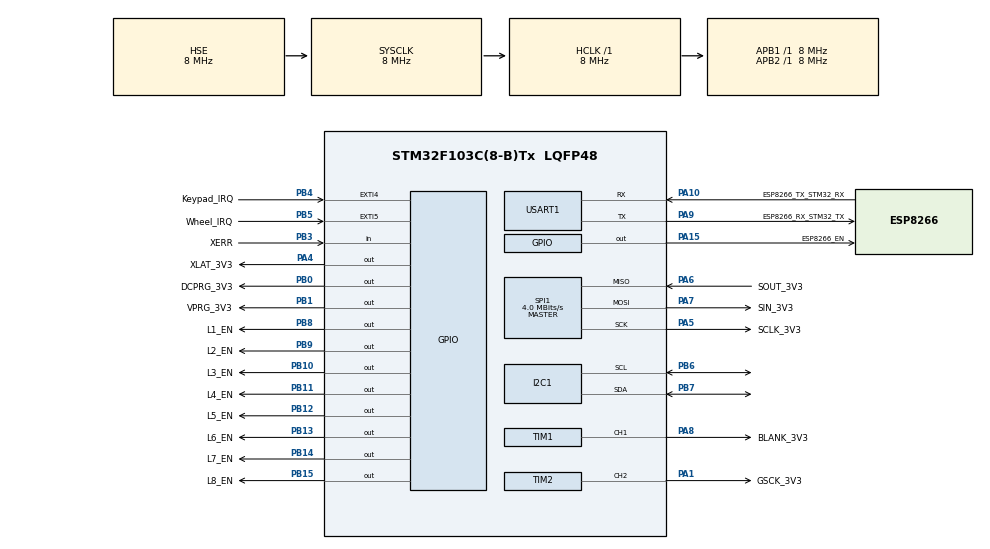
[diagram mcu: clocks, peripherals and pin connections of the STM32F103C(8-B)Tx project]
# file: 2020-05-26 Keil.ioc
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Mcu.Family=STM32F1
PA6.Mode=Full_Duplex_Master
SPI1.VirtualType=VM_MASTER
PB14.GPIO_Label=L7_EN
VP_RTC_VS_RTC_Activate.Mode=RTC_Enabled
PA6.GPIO_Label=SOUT_3V3
PB0.GPIO_Label=DCPRG_3V3
NVIC.TIM1_UP_IRQn=true\:1\:0\:true\:false\:true\:true\:true
PB13.GPIO_Label=L6_EN
PB11.Signal=GPIO_Output
PB13.Signal=GPIO_Output
PB15.Signal=GPIO_Output
RCC.SYSCLKSource=RCC_SYSCLKSOURCE_HSE
ProjectManager.StackSize=0x400
PD1-OSC_OUT.Signal=RCC_OSC_OUT
PA15.GPIO_Label=ESP8266_EN
SPI1.Direction=SPI_DIRECTION_2LINES
RCC.HCLKFreq_Value=8000000
RCC.APB2TimFreq_Value=8000000
PB6.Signal=I2C1_SCL
PB6.Mode=I2C
SPI1.CalculateBaudRate=4.0 MBits/s
RCC.AHBFreq_Value=8000000
RCC.RTCClockSelection=RCC_RTCCLKSOURCE_LSE
PB12.GPIO_Label=L5_EN
PB3.GPIO_PuPd=GPIO_PULLUP
PC14-OSC32_IN.Mode=LSE-External-Oscillator
PA14.Mode=Serial_Wire
PB1.GPIO_Label=VPRG_3V3
PA10.GPIO_Label=ESP8266_TX_STM32_RX
PB7.Signal=I2C1_SDA
PA8.Signal=S_TIM1_CH1
Mcu.Package=LQFP48
PB9.Signal=GPIO_Output
TIM2.Channel-Output\ Compare2\ CH2=TIM_CHANNEL_2
TIM2.OCMode_2=TIM_OCMODE_TOGGLE
PB1.Signal=GPIO_Output
PA6.Signal=SPI1_MISO
PA10.Signal=USART1_RX
PA15.Signal=GPIO_Output
PB5.GPIO_Label=Wheel_IRQ
RCC.APB1TimFreq_Value=8000000
TIM1.Period=16383
SPI1.BaudRatePrescaler=SPI_BAUDRATEPRESCALER_2
PA4.GPIO_Label=XLAT_3V3
PB4.Signal=GPXTI4
PA5.Mode=Full_Duplex_Master
PB3.GPIO_Label=XERR
RCC.PLLSourceVirtual=RCC_PLLSOURCE_HSE
PC15-OSC32_OUT.Mode=LSE-External-Oscillator
NVIC.EXTI4_IRQn=true\:2\:0\:true\:false\:true\:true\:true
PA7.Mode=Full_Duplex_Master
PD1-OSC_OUT.Mode=HSE-External-Oscillator
PB9.GPIO_Label=L2_EN
PA10.Mode=Asynchronous
PA9.GPIO_Label=ESP8266_RX_STM32_TX
TIM1.OCMode_1=TIM_OCMODE_ACTIVE
PB11.GPIO_Label=L4_EN
PD0-OSC_IN.Signal=RCC_OSC_IN
PC14-OSC32_IN.Signal=RCC_OSC32_IN
PA13.Signal=SYS_JTMS-SWDIO
PB8.GPIO_Label=L1_EN
SH.S_TIM2_CH2.0=TIM2_CH2,Output Compare2 CH2
PA9.Mode=Asynchronous
PA8.GPIO_Label=BLANK_3V3
SH.S_TIM1_CH1.0=TIM1_CH1,Output Compare1 CH1
ProjectManager.TargetToolchain=MDK-ARM V5.27
PB10.GPIO_Label=L3_EN
PA9.Signal=USART1_TX
RCC.USBFreq_Value=16000000
PC15-OSC32_OUT.Signal=RCC_OSC32_OUT
PA1.Signal=S_TIM2_CH2
PD0-OSC_IN.Mode=HSE-External-Oscillator
PB10.Signal=GPIO_Output
PB14.Signal=GPIO_Output
PA5.Signal=SPI1_SCK
board=custom
TIM1.TIM_MasterOutputTrigger=TIM_TRGO_UPDATE
RCC.APB2Freq_Value=8000000
PB4.GPIO_Label=Keypad_IRQ
PB15.GPIO_Label=L8_EN
SPI1.Mode=SPI_MODE_MASTER
PA1.GPIO_Label=GSCK_3V3
TIM2.Period=1
PA13.Mode=Serial_Wire
Mcu.Name=STM32F103C(8-B)Tx
PB3.Signal=GPIO_Input
PA4.Signal=GPIO_Output
RCC.SYSCLKFreq_VALUE=8000000
PB5.Signal=GPXTI5
PA7.GPIO_Label=SIN_3V3
PA5.GPIO_Label=SCLK_3V3
USART1.VirtualMode=VM_ASYNC
PB7.Mode=I2C
NVIC.EXTI9_5_IRQn=true\:2\:0\:true\:false\:true\:true\:true
PA14.Signal=SYS_JTCK-SWCLK
ProjectManager.HeapSize=0x200
TIM1.Channel-Output\ Compare1\ CH1=TIM_CHANNEL_1
TIM1.Pulse-Output\ Compare1\ CH1=16383
NVIC.PriorityGroup=NVIC_PRIORITYGROUP_4
PB8.Signal=GPIO_Output
RCC.APB1Freq_Value=8000000
PB0.Signal=GPIO_Output
PB12.Signal=GPIO_Output
PA7.Signal=SPI1_MOSI

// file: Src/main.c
/* USER CODE BEGIN Header */
/**
  ******************************************************************************
  * @file           : main.c
  * @brief          : Main program body
  ******************************************************************************
  * @attention
  *
  * <h2><center>&copy; Copyright (c) 2020 STMicroelectronics.
  * All rights reserved.</center></h2>
  *
  * This software component is licensed by ST under BSD 3-Clause license,
  * the "License"; You may not use this file except in compliance with the
  * License. You may obtain a copy of the License at:
  *                        opensource.org/licenses/BSD-3-Clause
  *
  ******************************************************************************
  */
/* USER CODE END Header */

#include "main.h"

/* USER CODE BEGIN Includes */
#define NUM_TLCS    12
//#include "arrayFunctions.h"
//#include "usbd_cdc_if.h"
#include <string.h>
#include <stdbool.h>
#include "lcd20x4_i2c.h"
#include "mpr121.h"
/* USER CODE END Includes */

I2C_HandleTypeDef hi2c1;

RTC_HandleTypeDef hrtc;

SPI_HandleTypeDef hspi1;

TIM_HandleTypeDef htim1;
TIM_HandleTypeDef htim2;

UART_HandleTypeDef huart1;

void SystemClock_Config(void);
static void MX_GPIO_Init(void);
static void MX_I2C1_Init(void);
static void MX_RTC_Init(void);
static void MX_SPI1_Init(void);
static void MX_TIM1_Init(void);
static void MX_TIM2_Init(void);
static void MX_USART1_UART_Init(void);
/* USER CODE BEGIN PFP */
void spi_convert(uint16_t *data16, uint8_t *data8);
void tlc_clear(uint16_t *data16);
void tlc_set_led(uint16_t *data16, int number, uint16_t brightness);
void tlc_update(uint16_t *data16, uint8_t *data8);
void intToStr(uint8_t *numVal, uint8_t *strVal);
void maskCopy(bool *maskPtr, bool *patternPtr);
/* USER CODE END PFP */

/* USER CODE BEGIN 0 */

typedef struct __Frame_TypeDef{
	bool lyr0Mask[64];
	bool lyr1Mask[64];
	bool lyr2Mask[64];
	bool lyr3Mask[64];
	bool lyr4Mask[64];
	bool lyr5Mask[64];
	bool lyr6Mask[64];
	bool lyr7Mask[64];
	uint64_t lyr0Color;
	uint64_t lyr1Color;
	uint64_t lyr2Color;
	uint64_t lyr3Color;
	uint64_t lyr4Color;
	uint64_t lyr5Color;
	uint64_t lyr6Color;
	uint64_t lyr7Color;
} Frame_TypeDef;

Frame_TypeDef frame1;

//lyr global variable indicates active cube layer.
//Needs to be global so timer IRQ can access value
uint8_t activeLyr = 0;

//Data Arrays&Pointers Need to be global for a reason. I will specify why once I remember.
// Data Arrays
uint16_t data16[16*NUM_TLCS];
uint8_t data8[24*NUM_TLCS];
// Data Pointers
uint8_t *data8Ptr = &data8[0];
uint16_t *data16Ptr = &data16[0];

// Current mapping. Reconfigure as needed :^)
// Needs to be global for convenient timer IRQ access

int redMap[64] = {154,145,176,185,179,188,182,191,158,149,128,137,131,140,134,143,113,122,116,125,119,108,102,111,161,170,164,173,167,104,98,107,33,42,36,45,39,12,6,15,81,90,84,93,87,8,2,11,49,58,52,61,55,19,25,16,65,74,68,77,71,23,29,20};
int grnMap[64] = {147,153,144,177,186,180,189,183,151,157,148,129,138,132,141,135,120,114,123,117,126,100,109,103,168,162,171,165,174,96,105,99,40,34,43,37,46,4,13,7,88,82,91,85,94,0,9,3,56,50,59,53,62,27,18,24,72,66,75,69,78,31,22,28};;
int bluMap[64] = {155,146,152,184,178,187,181,190,159,150,156,136,130,139,133,142,112,121,115,124,118,127,101,110,160,169,163,172,166,175,97,106,32,41,35,44,38,47,5,14,80,89,83,92,86,95,1,10,48,57,51,60,54,63,26,17,64,73,67,76,70,79,30,21};

//Color Definition Begin
uint64_t red = 				0x0fff00000000;
uint64_t green = 			0x00000fff0000;
uint64_t blue = 			0x000000000fff;
uint64_t yellow = 		0x0fff0fff0000;
uint64_t purple = 		0x0fff00000fff;
uint64_t cyan = 			0x00000fff0fff;
uint64_t orange = 		0x0fff08000000;
uint64_t pink = 			0x0fff0c0f0cbf;
uint64_t seafoam = 		0x071f0eef0b8f;
//Color Definition End

// This is how I'm manually specifying layer patterns for now!
bool mask0[64] = {1,1,1,1,1,1,1,1,
									1,0,0,0,0,0,0,1,
									1,0,0,0,0,0,0,1,
									1,0,0,0,0,0,0,1,
									1,0,0,0,0,0,0,1,
									1,0,0,0,0,0,0,1,
									1,0,0,0,0,0,0,1,
									1,1,1,1,1,1,1,1};

bool mask1[64] = {0,0,0,0,0,0,0,0,
									0,1,1,1,1,1,1,0,
									0,1,0,0,0,0,1,0,
									0,1,0,0,0,0,1,0,
									0,1,0,0,0,0,1,0,
									0,1,0,0,0,0,1,0,
									0,1,1,1,1,1,1,0,
									0,0,0,0,0,0,0,0};

bool mask2[64] = {0,0,0,0,0,0,0,0,
									0,0,0,0,0,0,0,0,
									0,0,1,1,1,1,0,0,
									0,0,1,0,0,1,0,0,
									0,0,1,0,0,1,0,0,
									0,0,1,1,1,1,0,0,
									0,0,0,0,0,0,0,0,
									0,0,0,0,0,0,0,0};

bool mask3[64] = {0,0,0,0,0,0,0,0,
									0,0,0,0,0,0,0,0,
									0,0,0,0,0,0,0,0,
									0,0,0,1,1,0,0,0,
									0,0,0,1,1,0,0,0,
									0,0,0,0,0,0,0,0,
									0,0,0,0,0,0,0,0,
									0,0,0,0,0,0,0,0};

bool mask4[64] = {1,1,1,1,1,1,1,1,
									1,0,0,0,0,0,0,1,
									1,0,1,1,1,1,0,1,
									1,0,1,0,0,1,0,1,
									1,0,1,0,0,1,0,1,
									1,0,1,1,1,1,0,1,
									1,0,0,0,0,0,0,1,
									1,1,1,1,1,1,1,1};

bool mask5[64] = {1,1,1,1,1,1,1,1,
									1,1,0,0,0,0,1,1,
									1,0,1,0,0,1,0,1,
									1,0,0,1,1,0,0,1,
									1,0,0,1,1,0,0,1,
									1,0,1,0,0,1,0,1,
									1,1,0,0,0,0,1,1,
									1,1,1,1,1,1,1,1};

bool mask6[64] = {0,0,0,0,0,0,0,0,
									1,1,1,1,1,1,1,1,
									0,0,0,0,0,0,0,0,
									1,1,1,1,1,1,1,1,
									0,0,0,0,0,0,0,1,
									1,1,1,1,1,1,1,1,
									0,0,0,0,0,0,0,0,
									1,1,1,1,1,1,1,1};

bool mask7[64] = {1,1,1,1,1,1,1,1,
									0,0,0,0,0,0,0,0,
									1,1,1,1,1,1,1,1,
									0,0,0,0,0,0,0,0,
									1,1,1,1,1,1,1,1,
									0,0,0,0,0,0,0,0,
									1,1,1,1,1,1,1,1,
									0,0,0,0,0,0,0,0};

bool *mask0Ptr = &mask0[0];
bool *mask1Ptr = &mask1[0];
bool *mask2Ptr = &mask2[0];
bool *mask3Ptr = &mask3[0];
bool *mask4Ptr = &mask4[0];
bool *mask5Ptr = &mask5[0];
bool *mask6Ptr = &mask6[0];
bool *mask7Ptr = &mask7[0];

/* USER CODE END 0 */

int main(void)
{

  /* MCU Configuration--------------------------------------------------------*/

  /* Reset of all peripherals, Initializes the Flash interface and the Systick. */
  HAL_Init();

  /* Configure the system clock */
  SystemClock_Config();

  /* Initialize all configured peripherals */
  MX_GPIO_Init();
  MX_I2C1_Init();
  MX_RTC_Init();
  MX_SPI1_Init();
  MX_TIM1_Init();
  MX_TIM2_Init();
  MX_USART1_UART_Init();
  /* USER CODE BEGIN 2 */

	frame1.lyr0Color = cyan;

	// This pin referencing is slightly redundant. L8 needs to be set since it's toggled during timXocstart (158)
	HAL_GPIO_WritePin(L8_EN_GPIO_Port, L8_EN_Pin, GPIO_PIN_SET);
	HAL_GPIO_WritePin(L7_EN_GPIO_Port, L7_EN_Pin, GPIO_PIN_RESET);
	HAL_GPIO_WritePin(L6_EN_GPIO_Port, L6_EN_Pin, GPIO_PIN_RESET);
	HAL_GPIO_WritePin(L5_EN_GPIO_Port, L5_EN_Pin, GPIO_PIN_RESET);
	HAL_GPIO_WritePin(L4_EN_GPIO_Port, L4_EN_Pin, GPIO_PIN_RESET);
	HAL_GPIO_WritePin(L3_EN_GPIO_Port, L3_EN_Pin, GPIO_PIN_RESET);
	HAL_GPIO_WritePin(L2_EN_GPIO_Port, L2_EN_Pin, GPIO_PIN_RESET);
	HAL_GPIO_WritePin(L1_EN_GPIO_Port, L1_EN_Pin, GPIO_PIN_RESET);

	HAL_TIM_OC_Start(&htim2, TIM_CHANNEL_2);	//
	HAL_TIM_Base_Start_IT(&htim1);
	HAL_TIM_OC_Start(&htim1, TIM_CHANNEL_1);	//

	// LCD INIT BEGIN
	if(lcd20x4_i2c_init(&hi2c1))
	{
		int tstvar=1;
	}
	lcd20x4_i2c_clear();
	lcd20x4_i2c_1stLine();
	lcd20x4_i2c_printf("LCD Initialized");
	HAL_Delay(500);
	// LCD INIT END

	//MPR121 INIT BEGIN
	mpr121_init(&hi2c1);
	//MPR121 INIT END

	//HAL_SPI_Init(&hspi1);

  /* USER CODE END 2 */

  /* Infinite loop */
  while (1)
  {

    /* USER CODE BEGIN 3 */
	int ledNum=0;
	for(ledNum=0;ledNum<192;ledNum++){

		HAL_Delay(1000);

		lcd20x4_i2c_clear();
		lcd20x4_i2c_1stLine();
		lcd20x4_i2c_printf("LED # %d", ledNum);

		tlc_clear(data16Ptr);
		tlc_set_led(data16Ptr,ledNum,4095);
		tlc_update(data16Ptr,data8Ptr);
	}
	//maskCopy(maskPtr,testPtr);

  }
  /* USER CODE END 3 */
}

void SystemClock_Config(void)
{
  RCC_OscInitTypeDef RCC_OscInitStruct = {0};
  RCC_ClkInitTypeDef RCC_ClkInitStruct = {0};
  RCC_PeriphCLKInitTypeDef PeriphClkInit = {0};

  /** Initializes the CPU, AHB and APB busses clocks
  */
  RCC_OscInitStruct.OscillatorType = RCC_OSCILLATORTYPE_HSE|RCC_OSCILLATORTYPE_LSE;
  RCC_OscInitStruct.HSEState = RCC_HSE_ON;
  RCC_OscInitStruct.LSEState = RCC_LSE_ON;
  RCC_OscInitStruct.PLL.PLLState = RCC_PLL_NONE;
  if (HAL_RCC_OscConfig(&RCC_OscInitStruct) != HAL_OK)
  {
    Error_Handler();
  }
  /** Initializes the CPU, AHB and APB busses clocks
  */
  RCC_ClkInitStruct.ClockType = RCC_CLOCKTYPE_HCLK|RCC_CLOCKTYPE_SYSCLK
                              |RCC_CLOCKTYPE_PCLK1|RCC_CLOCKTYPE_PCLK2;
  RCC_ClkInitStruct.SYSCLKSource = RCC_SYSCLKSOURCE_HSE;
  RCC_ClkInitStruct.AHBCLKDivider = RCC_SYSCLK_DIV1;
  RCC_ClkInitStruct.APB1CLKDivider = RCC_HCLK_DIV1;
  RCC_ClkInitStruct.APB2CLKDivider = RCC_HCLK_DIV1;

  if (HAL_RCC_ClockConfig(&RCC_ClkInitStruct, FLASH_LATENCY_0) != HAL_OK)
  {
    Error_Handler();
  }
  PeriphClkInit.PeriphClockSelection = RCC_PERIPHCLK_RTC;
  PeriphClkInit.RTCClockSelection = RCC_RTCCLKSOURCE_LSE;
  if (HAL_RCCEx_PeriphCLKConfig(&PeriphClkInit) != HAL_OK)
  {
    Error_Handler();
  }
}

static void MX_I2C1_Init(void)
{

  hi2c1.Instance = I2C1;
  hi2c1.Init.ClockSpeed = 100000;
  hi2c1.Init.DutyCycle = I2C_DUTYCYCLE_2;
  hi2c1.Init.OwnAddress1 = 0;
  hi2c1.Init.AddressingMode = I2C_ADDRESSINGMODE_7BIT;
  hi2c1.Init.DualAddressMode = I2C_DUALADDRESS_DISABLE;
  hi2c1.Init.OwnAddress2 = 0;
  hi2c1.Init.GeneralCallMode = I2C_GENERALCALL_DISABLE;
  hi2c1.Init.NoStretchMode = I2C_NOSTRETCH_DISABLE;
  if (HAL_I2C_Init(&hi2c1) != HAL_OK)
  {
    Error_Handler();
  }

}

static void MX_RTC_Init(void)
{

  /** Initialize RTC Only
  */
  hrtc.Instance = RTC;
  hrtc.Init.AsynchPrediv = RTC_AUTO_1_SECOND;
  hrtc.Init.OutPut = RTC_OUTPUTSOURCE_ALARM;
  if (HAL_RTC_Init(&hrtc) != HAL_OK)
  {
    Error_Handler();
  }

}

static void MX_SPI1_Init(void)
{

  /* SPI1 parameter configuration*/
  hspi1.Instance = SPI1;
  hspi1.Init.Mode = SPI_MODE_MASTER;
  hspi1.Init.Direction = SPI_DIRECTION_2LINES;
  hspi1.Init.DataSize = SPI_DATASIZE_8BIT;
  hspi1.Init.CLKPolarity = SPI_POLARITY_LOW;
  hspi1.Init.CLKPhase = SPI_PHASE_1EDGE;
  hspi1.Init.NSS = SPI_NSS_SOFT;
  hspi1.Init.BaudRatePrescaler = SPI_BAUDRATEPRESCALER_2;
  hspi1.Init.FirstBit = SPI_FIRSTBIT_MSB;
  hspi1.Init.TIMode = SPI_TIMODE_DISABLE;
  hspi1.Init.CRCCalculation = SPI_CRCCALCULATION_DISABLE;
  hspi1.Init.CRCPolynomial = 10;
  if (HAL_SPI_Init(&hspi1) != HAL_OK)
  {
    Error_Handler();
  }

}

static void MX_TIM1_Init(void)
{

  TIM_MasterConfigTypeDef sMasterConfig = {0};
  TIM_OC_InitTypeDef sConfigOC = {0};
  TIM_BreakDeadTimeConfigTypeDef sBreakDeadTimeConfig = {0};

  htim1.Instance = TIM1;
  htim1.Init.Prescaler = 0;
  htim1.Init.CounterMode = TIM_COUNTERMODE_UP;
  htim1.Init.Period = 16383;
  htim1.Init.ClockDivision = TIM_CLOCKDIVISION_DIV1;
  htim1.Init.RepetitionCounter = 0;
  htim1.Init.AutoReloadPreload = TIM_AUTORELOAD_PRELOAD_DISABLE;
  if (HAL_TIM_OC_Init(&htim1) != HAL_OK)
  {
    Error_Handler();
  }
  sMasterConfig.MasterOutputTrigger = TIM_TRGO_UPDATE;
  sMasterConfig.MasterSlaveMode = TIM_MASTERSLAVEMODE_DISABLE;
  if (HAL_TIMEx_MasterConfigSynchronization(&htim1, &sMasterConfig) != HAL_OK)
  {
    Error_Handler();
  }
  sConfigOC.OCMode = TIM_OCMODE_PWM2;
  sConfigOC.Pulse = 16383;
  sConfigOC.OCPolarity = TIM_OCPOLARITY_HIGH;
  sConfigOC.OCNPolarity = TIM_OCNPOLARITY_HIGH;
  sConfigOC.OCFastMode = TIM_OCFAST_DISABLE;
  sConfigOC.OCIdleState = TIM_OCIDLESTATE_RESET;
  sConfigOC.OCNIdleState = TIM_OCNIDLESTATE_RESET;
  if (HAL_TIM_OC_ConfigChannel(&htim1, &sConfigOC, TIM_CHANNEL_1) != HAL_OK)
  {
    Error_Handler();
  }
  sBreakDeadTimeConfig.OffStateRunMode = TIM_OSSR_DISABLE;
  sBreakDeadTimeConfig.OffStateIDLEMode = TIM_OSSI_DISABLE;
  sBreakDeadTimeConfig.LockLevel = TIM_LOCKLEVEL_OFF;
  sBreakDeadTimeConfig.DeadTime = 0;
  sBreakDeadTimeConfig.BreakState = TIM_BREAK_DISABLE;
  sBreakDeadTimeConfig.BreakPolarity = TIM_BREAKPOLARITY_HIGH;
  sBreakDeadTimeConfig.AutomaticOutput = TIM_AUTOMATICOUTPUT_DISABLE;
  if (HAL_TIMEx_ConfigBreakDeadTime(&htim1, &sBreakDeadTimeConfig) != HAL_OK)
  {
    Error_Handler();
  }
  /* USER CODE BEGIN TIM1_Init 2 */
	sConfigOC.OCMode = TIM_OCMODE_PWM2;
  /* USER CODE END TIM1_Init 2 */
  HAL_TIM_MspPostInit(&htim1);

}

static void MX_TIM2_Init(void)
{

  TIM_MasterConfigTypeDef sMasterConfig = {0};
  TIM_OC_InitTypeDef sConfigOC = {0};

  htim2.Instance = TIM2;
  htim2.Init.Prescaler = 0;
  htim2.Init.CounterMode = TIM_COUNTERMODE_UP;
  htim2.Init.Period = 1;
  htim2.Init.ClockDivision = TIM_CLOCKDIVISION_DIV1;
  htim2.Init.AutoReloadPreload = TIM_AUTORELOAD_PRELOAD_DISABLE;
  if (HAL_TIM_OC_Init(&htim2) != HAL_OK)
  {
    Error_Handler();
  }
  sMasterConfig.MasterOutputTrigger = TIM_TRGO_RESET;
  sMasterConfig.MasterSlaveMode = TIM_MASTERSLAVEMODE_DISABLE;
  if (HAL_TIMEx_MasterConfigSynchronization(&htim2, &sMasterConfig) != HAL_OK)
  {
    Error_Handler();
  }
  sConfigOC.OCMode = TIM_OCMODE_TOGGLE;
  sConfigOC.Pulse = 1;
  sConfigOC.OCPolarity = TIM_OCPOLARITY_HIGH;
  sConfigOC.OCFastMode = TIM_OCFAST_DISABLE;
  if (HAL_TIM_OC_ConfigChannel(&htim2, &sConfigOC, TIM_CHANNEL_2) != HAL_OK)
  {
    Error_Handler();
  }
  /* USER CODE BEGIN TIM2_Init 2 */
	sConfigOC.Pulse = 1;
  /* USER CODE END TIM2_Init 2 */
  HAL_TIM_MspPostInit(&htim2);

}

static void MX_USART1_UART_Init(void)
{

  huart1.Instance = USART1;
  huart1.Init.BaudRate = 115200;
  huart1.Init.WordLength = UART_WORDLENGTH_8B;
  huart1.Init.StopBits = UART_STOPBITS_1;
  huart1.Init.Parity = UART_PARITY_NONE;
  huart1.Init.Mode = UART_MODE_TX_RX;
  huart1.Init.HwFlowCtl = UART_HWCONTROL_NONE;
  huart1.Init.OverSampling = UART_OVERSAMPLING_16;
  if (HAL_UART_Init(&huart1) != HAL_OK)
  {
    Error_Handler();
  }

}

static void MX_GPIO_Init(void)
{
  GPIO_InitTypeDef GPIO_InitStruct = {0};

  /* GPIO Ports Clock Enable */
  __HAL_RCC_GPIOC_CLK_ENABLE();
  __HAL_RCC_GPIOD_CLK_ENABLE();
  __HAL_RCC_GPIOA_CLK_ENABLE();
  __HAL_RCC_GPIOB_CLK_ENABLE();

  /*Configure GPIO pin Output Level */
  HAL_GPIO_WritePin(GPIOA, XLAT_3V3_Pin|ESP8266_EN_Pin, GPIO_PIN_RESET);

  /*Configure GPIO pin Output Level */
  HAL_GPIO_WritePin(GPIOB, DCPRG_3V3_Pin|VPRG_3V3_Pin|L3_EN_Pin|L4_EN_Pin
                          |L5_EN_Pin|L6_EN_Pin|L7_EN_Pin|L8_EN_Pin
                          |L1_EN_Pin|L2_EN_Pin, GPIO_PIN_RESET);

  /*Configure GPIO pins : XLAT_3V3_Pin ESP8266_EN_Pin */
  GPIO_InitStruct.Pin = XLAT_3V3_Pin|ESP8266_EN_Pin;
  GPIO_InitStruct.Mode = GPIO_MODE_OUTPUT_PP;
  GPIO_InitStruct.Pull = GPIO_NOPULL;
  GPIO_InitStruct.Speed = GPIO_SPEED_FREQ_LOW;
  HAL_GPIO_Init(GPIOA, &GPIO_InitStruct);

  /*Configure GPIO pins : DCPRG_3V3_Pin VPRG_3V3_Pin L3_EN_Pin L4_EN_Pin
                           L5_EN_Pin L6_EN_Pin L7_EN_Pin L8_EN_Pin
                           L1_EN_Pin L2_EN_Pin */
  GPIO_InitStruct.Pin = DCPRG_3V3_Pin|VPRG_3V3_Pin|L3_EN_Pin|L4_EN_Pin
                          |L5_EN_Pin|L6_EN_Pin|L7_EN_Pin|L8_EN_Pin
                          |L1_EN_Pin|L2_EN_Pin;
  GPIO_InitStruct.Mode = GPIO_MODE_OUTPUT_PP;
  GPIO_InitStruct.Pull = GPIO_NOPULL;
  GPIO_InitStruct.Speed = GPIO_SPEED_FREQ_LOW;
  HAL_GPIO_Init(GPIOB, &GPIO_InitStruct);

  /*Configure GPIO pin : XERR_Pin */
  GPIO_InitStruct.Pin = XERR_Pin;
  GPIO_InitStruct.Mode = GPIO_MODE_INPUT;
  GPIO_InitStruct.Pull = GPIO_PULLUP;
  HAL_GPIO_Init(XERR_GPIO_Port, &GPIO_InitStruct);

  /*Configure GPIO pins : Keypad_IRQ_Pin Wheel_IRQ_Pin */
  GPIO_InitStruct.Pin = Keypad_IRQ_Pin|Wheel_IRQ_Pin;
  GPIO_InitStruct.Mode = GPIO_MODE_IT_RISING;
  GPIO_InitStruct.Pull = GPIO_NOPULL;
  HAL_GPIO_Init(GPIOB, &GPIO_InitStruct);

  /* EXTI interrupt init*/
  HAL_NVIC_SetPriority(EXTI4_IRQn, 2, 0);
  HAL_NVIC_EnableIRQ(EXTI4_IRQn);

  HAL_NVIC_SetPriority(EXTI9_5_IRQn, 2, 0);
  HAL_NVIC_EnableIRQ(EXTI9_5_IRQn);

}

/* USER CODE BEGIN 4 */

void maskCopy(bool *maskPtr, bool *patternPtr)
{
	for (int index=0;index<64;index++)
	{
		*(patternPtr + index) = *(maskPtr + index);
	}
};

void tlc_set_led(uint16_t *data16, int number, uint16_t brightness){

	*(data16 + number) = brightness;

}

// Function sets the entire TLC data16 array. requires a color and a pattern mask.
void tlc_set_lyr(uint16_t *data16, uint64_t color, bool mask[64])
{
	// color takes form 0x0RRR0GGG0BBB
	uint16_t red = (color>>32);
	uint16_t grn = (color>>16);
	uint16_t blu = (color>>0);

	for(int index=0;index<64;index++)
	{
		if ( mask[index] == 1)
		{
			*(data16 + redMap[index]) = red;
			*(data16 + grnMap[index]) = grn;
			*(data16 + bluMap[index]) = blu;
		}
	}

}

void tlc_clear(uint16_t *data16){

		for(int i=0; i<24*NUM_TLCS;i++){
		*(data16Ptr + i) = 0;
	}

}

void tlc_update(uint16_t *data16, uint8_t *data8){

	spi_convert(data16Ptr, data8Ptr);

	HAL_SPI_Transmit(&hspi1, data8, 24*NUM_TLCS, 10);
	HAL_GPIO_WritePin(XLAT_3V3_GPIO_Port, XLAT_3V3_Pin, GPIO_PIN_SET);
	// short delay (approx 3us)
	for(uint16_t dummyVar =1;dummyVar<15;dummyVar++);
	HAL_GPIO_WritePin(XLAT_3V3_GPIO_Port, XLAT_3V3_Pin, GPIO_PIN_RESET);

}

void spi_convert(uint16_t *data16, uint8_t *data8){

	int index8 = 0;
	int index16 = 0;
	int i = 0;

 while (index8 < 24*NUM_TLCS){
 switch (i) {

      case 0:
				*(data8 + index8) = *(data16 + index16);
				index8++;
        i++;
        break;

      case 1:
				*(data8 + index8) = ( (( (*(data16 + (index16 + 1))<<4) & 0xF0) >> 4) | ( ((*(data16 + index16)>>8) & 0x0F ) << 4));
				index8++;
        i++;
        break;

      case 2:
				*(data8 + index8) = (*(data16 + (index16 + 1))>>4);
				index8++;
				index16 = index16 + 2;
        i=0;
        break;}
			}
}

void HAL_GPIO_EXTI_Callback(uint16_t GPIO_Pin)
{
	lcd20x4_i2c_clear();
	lcd20x4_i2c_1stLine();
	lcd20x4_i2c_printf("Keypad Interrupt!");
	HAL_Delay(2000);
}

void HAL_TIM_PeriodElapsedCallback(TIM_HandleTypeDef *htim){
//I think blank should be toggled in this callback for improved synchronization
	/*
	if(activeLyr==0){
		HAL_GPIO_TogglePin(L8_EN_GPIO_Port, L8_EN_Pin);
		tlc_clear(data16Ptr);
		tlc_set_lyr(data16Ptr,seafoam,mask5);
		tlc_update(data16Ptr,data8Ptr);
		HAL_GPIO_TogglePin(L1_EN_GPIO_Port, L1_EN_Pin);}

	if(activeLyr==1){
		HAL_GPIO_TogglePin(L1_EN_GPIO_Port, L1_EN_Pin);
		tlc_clear(data16Ptr);
		tlc_set_lyr(data16Ptr,red,mask5);
		tlc_update(data16Ptr,data8Ptr);
		HAL_GPIO_TogglePin(L2_EN_GPIO_Port, L2_EN_Pin);}

	if(activeLyr==2){
		HAL_GPIO_TogglePin(L2_EN_GPIO_Port, L2_EN_Pin);
		tlc_clear(data16Ptr);
		tlc_set_lyr(data16Ptr,cyan,mask5);
		tlc_update(data16Ptr,data8Ptr);
		HAL_GPIO_TogglePin(L3_EN_GPIO_Port, L3_EN_Pin);}

	if(activeLyr==3){
		HAL_GPIO_TogglePin(L3_EN_GPIO_Port, L3_EN_Pin);
		tlc_clear(data16Ptr);
		tlc_set_lyr(data16Ptr,purple,mask5);
		tlc_update(data16Ptr,data8Ptr);
		HAL_GPIO_TogglePin(L4_EN_GPIO_Port, L4_EN_Pin);}

	if(activeLyr==4){
		HAL_GPIO_TogglePin(L4_EN_GPIO_Port, L4_EN_Pin);
		tlc_clear(data16Ptr);
		tlc_set_lyr(data16Ptr,pink,mask5);
		tlc_update(data16Ptr,data8Ptr);
		HAL_GPIO_TogglePin(L5_EN_GPIO_Port, L5_EN_Pin);}

	if(activeLyr==5){
		HAL_GPIO_TogglePin(L5_EN_GPIO_Port, L5_EN_Pin);
		tlc_clear(data16Ptr);
		tlc_set_lyr(data16Ptr,yellow,mask5);
		tlc_update(data16Ptr,data8Ptr);
		HAL_GPIO_TogglePin(L6_EN_GPIO_Port, L6_EN_Pin);}

	if(activeLyr==6){
		HAL_GPIO_TogglePin(L6_EN_GPIO_Port, L6_EN_Pin);
		tlc_clear(data16Ptr);
		tlc_set_lyr(data16Ptr,blue,mask5);
		tlc_update(data16Ptr,data8Ptr);
		HAL_GPIO_TogglePin(L7_EN_GPIO_Port, L7_EN_Pin);}

	if(activeLyr==7){
		HAL_GPIO_TogglePin(L7_EN_GPIO_Port, L7_EN_Pin);
		tlc_clear(data16Ptr);
		tlc_set_lyr(data16Ptr,green,mask5);
		tlc_update(data16Ptr,data8Ptr);
		HAL_GPIO_TogglePin(L8_EN_GPIO_Port, L8_EN_Pin);}

	activeLyr++;
	if(activeLyr==8) activeLyr = 0;
	*/
}

//void CDC_ReceiveCallBack(uint8_t *buf, uint32_t len){
//	CDC_Transmit_FS(buf, len);
//}

//function defined specifically to convert integers 0~192 into strings
void intToStr(uint8_t *numVal, uint8_t *strVal)
{
	*(strVal) = (*(numVal)/100) + '0';
	*(strVal + 1) = ((*(numVal)%100)/10) + '0';
	*(strVal + 2) = (*(numVal)%10) + '0';
	*(strVal + 3) = '\n';
}

/* USER CODE END 4 */

void Error_Handler(void)
{
}

/************************ (C) COPYRIGHT STMicroelectronics *****END OF FILE****/
